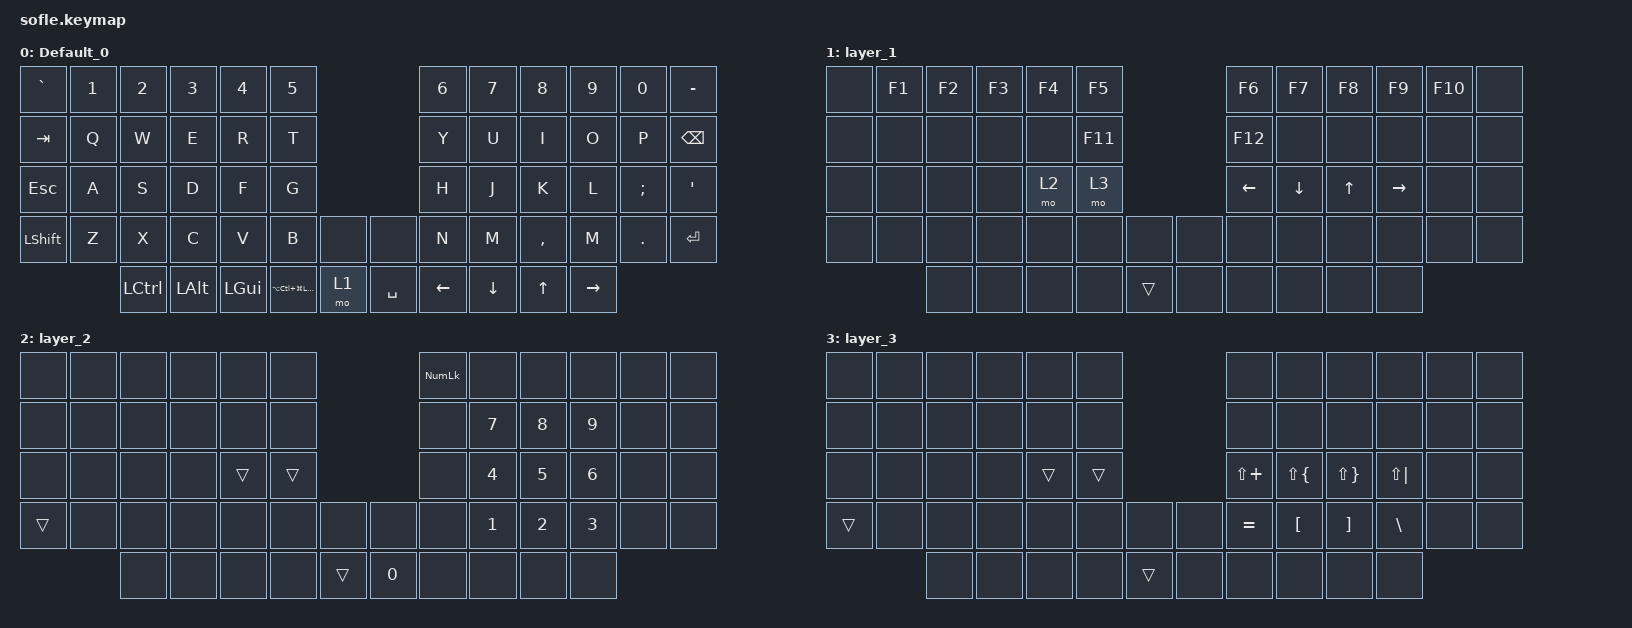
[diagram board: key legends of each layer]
/*
 * Copyright (c) 2020 The ZMK Contributors
 *
 * SPDX-License-Identifier: MIT
 */

#include <behaviors.dtsi>
#include <dt-bindings/zmk/keys.h>

/ {
    keymap {
        compatible = "zmk,keymap";

        default_0 {
            bindings = <
&kp GRAVE  &kp N1  &kp N2            &kp N3        &kp N4        &kp N5                                          &kp N6    &kp N7    &kp N8     &kp N9     &kp N0    &kp MINUS
&kp TAB    &kp Q   &kp W             &kp E         &kp R         &kp T                                           &kp Y     &kp U     &kp I      &kp O      &kp P     &kp BSPC
&kp ESC    &kp A   &kp S             &kp D         &kp F         &kp G                                           &kp H     &kp J     &kp K      &kp L      &kp SEMI  &kp SQT
&kp LSHFT  &kp Z   &kp X             &kp C         &kp V         &kp B                       &none    &none      &kp N     &kp M     &kp COMMA  &kp M      &kp DOT   &kp RET
                   &kp LEFT_CONTROL  &kp LEFT_ALT  &kp LEFT_GUI  &kp LA(LC(LG(LEFT_SHIFT)))  &mo 1    &kp SPACE  &kp LEFT  &kp DOWN  &kp UP     &kp RIGHT
            >;

            label = "Default_0";
        };

        layer_1 {
            bindings = <
&none  &kp F1  &kp F2  &kp F3  &kp F4  &kp F5                    &kp F6    &kp F7    &kp F8  &kp F9     &kp F10  &none
&none  &none   &none   &none   &none   &kp F11                   &kp F12   &none     &none   &none      &none    &none
&none  &none   &none   &none   &mo 2   &mo 3                     &kp LEFT  &kp DOWN  &kp UP  &kp RIGHT  &none    &none
&none  &none   &none   &none   &none   &none    &none     &none  &none     &none     &none   &none      &none    &none
               &none   &none   &none   &none    &trans    &none  &none     &none     &none   &none
            >;
        };

        layer_2 {
            bindings = <
&none   &none  &none  &none  &none   &none                     &kp KP_NUM  &none   &none   &none   &none  &none
&none   &none  &none  &none  &none   &none                     &none       &kp N7  &kp N8  &kp N9  &none  &none
&none   &none  &none  &none  &trans  &trans                    &none       &kp N4  &kp N5  &kp N6  &none  &none
&trans  &none  &none  &none  &none   &none   &none     &none   &none       &kp N1  &kp N2  &kp N3  &none  &none
               &none  &none  &none   &none   &trans    &kp N0  &none       &none   &none   &none
            >;
        };

        layer_3 {
            bindings = <
&none   &none  &none  &none  &none   &none                    &none         &none               &none                &none         &none  &none
&none   &none  &none  &none  &none   &none                    &none         &none               &none                &none         &none  &none
&none   &none  &none  &none  &trans  &trans                   &kp LS(PLUS)  &kp LS(LEFT_BRACE)  &kp LS(RIGHT_BRACE)  &kp LS(PIPE)  &none  &none
&trans  &none  &none  &none  &none   &none   &none     &none  &kp EQUAL     &kp LBKT            &kp RIGHT_BRACKET    &kp BSLH      &none  &none
               &none  &none  &none   &none   &trans    &none  &none         &none               &none                &none
            >;
        };
    };
};
